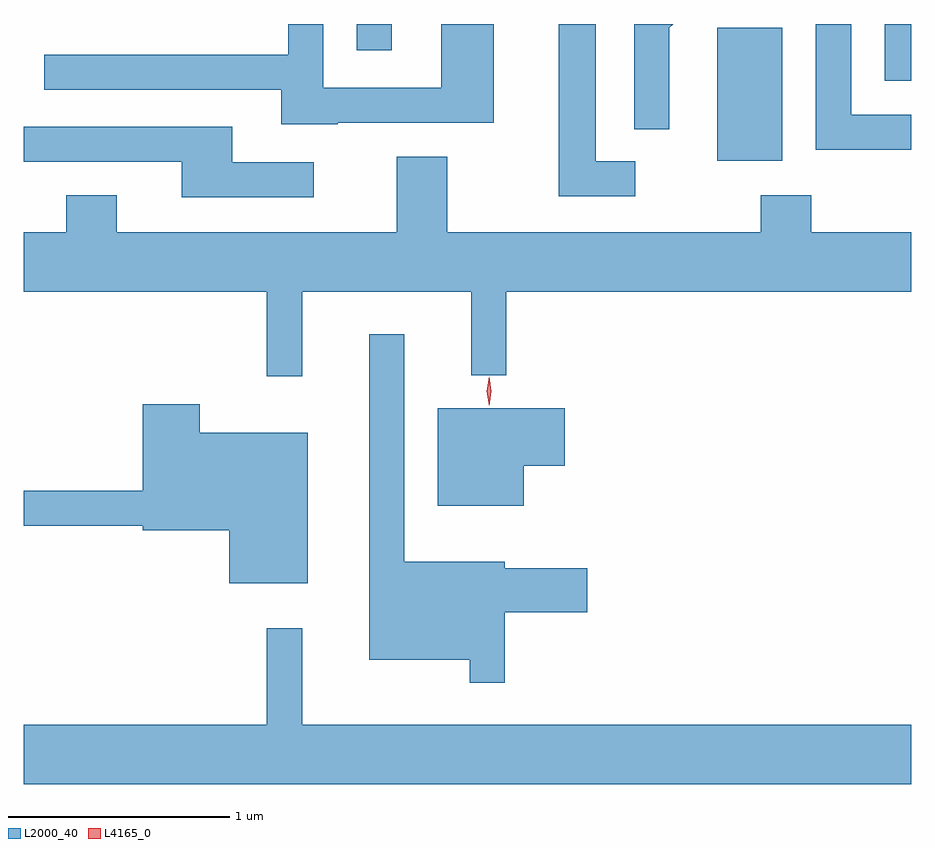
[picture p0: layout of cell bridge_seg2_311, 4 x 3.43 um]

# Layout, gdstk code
import gdstk
lib = gdstk.Library(unit=1e-6, precision=1e-09)
def R(c, l, rs):  # rectangles x0, y0, x1, y1
    for r in rs: c.add(gdstk.rectangle(r[:2], r[2:], *l))
def P(c, l, *ps):  # polygons
    for p in ps: c.add(gdstk.Polygon(p, *l))
L2000_40 = (2000, 40)
L4165_0 = (4165, 0)

bridge_seg2_311 = lib.new_cell('bridge_seg2_311')
R(bridge_seg2_311, L2000_40, [(261.886,1108.846,262.179,1109.444), (262.641,1109.206,262.76,1109.462), (260.261,1109.343,260.419,1109.462)])
P(bridge_seg2_311, L2000_40, [(260.175,1109.016),(260.879,1109.016),(260.879,1109.462),(260.641,1109.462),(260.641,1109.174),(260.109,1109.174),(260.109,1109.462),(259.951,1109.462),(259.951,1109.324),(258.853,1109.324),(258.853,1109.166),(259.921,1109.166),(259.921,1109.011),(260.175,1109.011)],
  [(262.76,1109.054),(262.489,1109.054),(262.489,1109.462),(262.331,1109.462),(262.331,1108.896),(262.76,1108.896)],
  [(261.669,1109.444),(261.687,1109.462),(261.511,1109.462),(261.511,1108.988),(261.669,1108.988)],
  [(261.517,1108.844),(261.339,1108.844),(261.339,1109.462),(261.171,1109.462),(261.171,1108.686),(261.517,1108.686)],
  [(260.068,1108.839),(259.699,1108.839),(259.699,1108.999),(258.76,1108.999),(258.76,1108.841),(259.471,1108.841),(259.471,1108.681),(260.068,1108.681)],
  [(260.014,1108.256),(260.776,1108.256),(260.776,1107.878),(260.934,1107.878),(260.934,1108.256),(262.76,1108.256),(262.76,1108.524),(262.309,1108.524),(262.309,1108.689),(262.081,1108.689),(262.081,1108.524),(260.669,1108.524),(260.669,1108.864),(260.441,1108.864),(260.441,1108.524),(259.179,1108.524),(259.179,1108.689),(258.951,1108.689),(258.951,1108.524),(258.76,1108.524),(258.76,1108.256),(259.856,1108.256),(259.856,1107.873),(260.014,1107.873)],
  [(260.929,1106.811),(261.299,1106.811),(261.299,1107.009),(260.929,1107.009),(260.929,1107.039),(260.474,1107.039),(260.474,1108.063),(260.316,1108.063),(260.316,1106.596),(260.771,1106.596),(260.771,1106.493),(260.929,1106.493)],
  [(260.039,1107.619),(259.554,1107.619),(259.554,1107.749),(259.296,1107.749),(259.296,1107.359),(258.76,1107.359),(258.76,1107.201),(259.296,1107.201),(259.296,1107.181),(259.686,1107.181),(259.686,1106.941),(260.039,1106.941)],
  [(261.014,1107.471),(261.199,1107.471),(261.199,1107.729),(260.626,1107.729),(260.626,1107.291),(261.014,1107.291)],
  [(262.76,1106.304),(260.014,1106.304),(260.014,1106.738),(259.856,1106.738),(259.856,1106.304),(258.76,1106.304),(258.76,1106.036),(262.76,1106.036)])
P(bridge_seg2_311, L4165_0, [(260.857,1107.74),(260.857,1107.741),(260.847,1107.806),(260.857,1107.871),(260.857,1107.871),(260.858,1107.871),(260.867,1107.806),(260.858,1107.741)])

lib.write_gds('bridge_seg2_311.gds')
